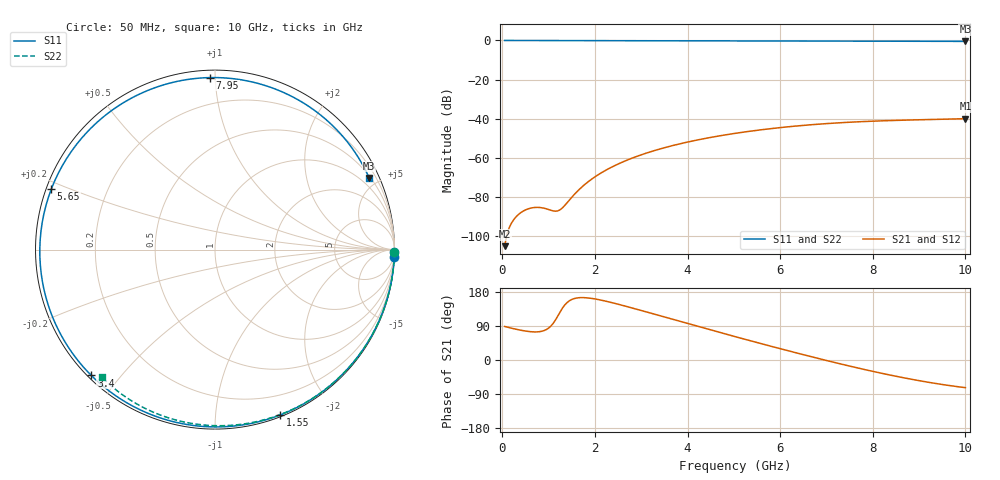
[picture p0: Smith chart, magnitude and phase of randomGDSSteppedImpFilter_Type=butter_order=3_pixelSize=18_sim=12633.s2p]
! freq	dB(S11)	phase(S11)	dB(S12)	phase(S12)
!  dB(S21)	phase(S21)	dB(S22)	phase(S22)
!S-par simulation data
#  GHz  S  DB  R 50
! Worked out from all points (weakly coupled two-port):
!   200 points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, 50 MHz to 10 GHz, reference 50 ohm
!   highest |S21| = -39.94 dB at 10 GHz (marker M1); lowest = -105.0 dB at 50 MHz (marker M2)
!   lowest |S11| = -0.5 dB at 10 GHz (marker M3), VSWR 36.87, Z = 28.7 + j223 ohm
!   |S11| at or under -10 dB: nowhere
!   |S22| runs from -0.4 to 0.0 dB; largest |S21 - S12| = 0
!   S11 on the Smith chart (normalised r, x): 50 MHz: 0, -49; 1.55 GHz: 0.02, -1.47; 3.4 GHz: 0.01, -0.42; 5.65 GHz: 0.01, +0.18; 7.95 GHz: 0.04, +0.97; 10 GHz: 0.57, +4.46
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0.05  -0.00 -2.3  -105.03 88.6  -105.03 88.6  -0.00 -0.8
0.35  -0.02 -16.2  -88.83 79.8  -88.83 79.8  -0.01 -5.3
0.7  -0.04 -32.0  -85.27 74.1  -85.27 74.1  -0.01 -10.6
1.1  -0.06 -49.6  -87.04 96.9  -87.04 96.9  -0.02 -16.6
1.5  -0.08 -66.4  -80.06 159.7  -80.06 159.7  -0.03 -22.5
1.55  -0.08 -68.4  -78.75 162.0  -78.75 162.0  -0.03 -23.3
1.75  -0.09 -76.5  -74.16 164.6  -74.16 164.6  -0.03 -26.2
2.05  -0.10 -88.0  -68.87 160.0  -68.87 160.0  -0.04 -30.6
2.45  -0.12 -102.7  -63.65 148.8  -63.65 148.8  -0.05 -36.4
2.9  -0.13 -118.2  -59.23 134.1  -59.23 134.1  -0.06 -42.8
3.4  -0.15 -134.5  -55.43 116.9  -55.43 116.9  -0.07 -49.9
4.2  -0.18 -158.8  -50.87 89.5  -50.87 89.5  -0.09 -60.9
5.05  -0.22 176.8  -47.34 60.9  -47.34 60.9  -0.11 -72.2
5.65  -0.24 159.8  -45.43 41.2  -45.43 41.2  -0.13 -79.9
6.15  -0.27 145.5  -44.13 25.1  -44.13 25.1  -0.15 -86.3
6.7  -0.30 129.6  -42.97 7.9  -42.97 7.9  -0.18 -93.1
7.35  -0.34 110.3  -41.94 -11.7  -41.94 -11.7  -0.22 -100.9
7.95  -0.37 91.7  -41.25 -28.7  -41.25 -28.7  -0.26 -108.0
8.35  -0.38 79.0  -40.92 -39.2  -40.92 -39.2  -0.29 -112.6
9.1  -0.41 54.6  -40.44 -56.7  -40.44 -56.7  -0.35 -121.3
9.55  -0.44 39.8  -40.20 -65.6  -40.20 -65.6  -0.40 -126.4
10  -0.47 24.9  -39.94 -73.0  -39.94 -73.0  -0.44 -131.4
